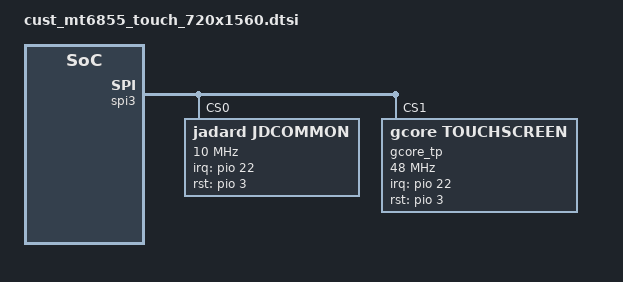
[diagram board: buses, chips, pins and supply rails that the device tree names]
/*Touch start*/	
&spi3 {	
    status = "okay";
    bootmode = <&chosen>;
    pinctrl-names = "default", "ctp_spi_mode";
	pinctrl-0 = <&ctp_jdgc_pins_default>;
	pinctrl-1 = <&ctp_jdgc_spi_mode>;
    jadard@0 {	
        status = "okay";	
        compatible = "jadard,jdcommon";	
        reg = <0>;	
	spi-max-frequency = <10000000>; //10M
	interrupt-parent = <&pio>;
	interrupts = <22 IRQ_TYPE_EDGE_FALLING 22 0>;
	jadard,panel-sense-nums = <18 32>;
	jadard,panel-coords = <0 720 0 1560>;
	jadard,panel-max-points = <10>;
	jadard,int-is-edge = <1>;
	jadard,irq-gpio = <&pio 22 02>;
	jadard,rst-gpio = <&pio 3 0>;
	
    };

    gcore_tp@1 {
                compatible = "gcore,touchscreen";
                reg = <1>;
                spi-max-frequency = <48000000>;
                gcore,irq-gpio = <&pio 22 02>;
                gcore,rst-gpio = <&pio 3 0>;
    };
	
};
/*Touch end*/
&pio {
                ctp_jdgc_pins_default: pins_default {
	            };
	            ctp_jdgc_spi_mode: spimode_default {
	                pins_cmd_dat {
	                    pinmux = <PINMUX_GPIO76__FUNC_SPI3_MI>,
		                     <PINMUX_GPIO75__FUNC_SPI3_MO>,
		                     <PINMUX_GPIO73__FUNC_SPI3_CLK>,
		                     <PINMUX_GPIO74__FUNC_SPI3_CSB>;
		             drive-strength = <7>;//16ma
                    };
             };
};
